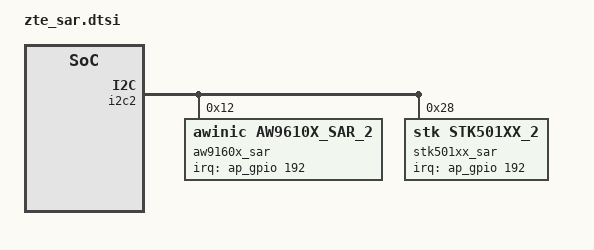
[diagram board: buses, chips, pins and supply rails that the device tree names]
&i2c2 {
	status = "okay";
/*
	aw9160x_sar@13 {
		compatible = "awinic,aw9610x_sar";
		reg = <0x13>;

		irq-gpio = <&ap_gpio 132 0>;
		chip_name = "AW96103";
		status = "okay" ;
	};

	stk501xx_sar@2c {
		compatible = "stk,stk501xx";
		reg = <0x2c>;

		stk501xx,irq-gpio = <&ap_gpio 132 0>;
		chip_name = "STK50153";
		status = "okay" ;
	};
*/

	aw9160x_sar@12 {
		compatible = "awinic,aw9610x_sar_2";
		reg = <0x12>;

		irq-gpio = <&ap_gpio 192 0>;
		phase_use_flag = <0x04>;
		chip_name = "AW96103";
		status = "okay" ;
	};

	stk501xx_sar@28 {
		compatible = "stk,stk501xx_2";
		reg = <0x28>;

		stk501xx,irq-gpio = <&ap_gpio 192 0>;
		stk501xx,phase_use_flag = <0x01>;
		chip_name = "STK50153";
		status = "okay" ;
	};
};
